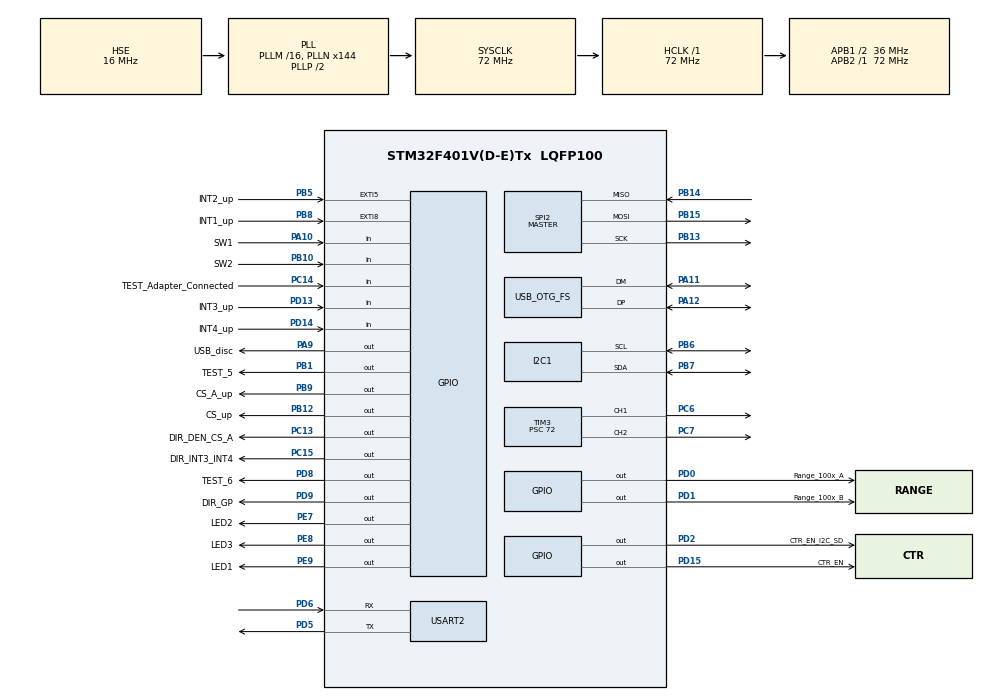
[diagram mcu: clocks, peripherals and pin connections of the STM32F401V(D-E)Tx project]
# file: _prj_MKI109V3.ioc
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I2C1.I2C_Mode=I2C_Fast
Mcu.Family=STM32F4
Mcu.Name=STM32F401V(D-E)Tx
Mcu.Package=LQFP100
NVIC.EXTI9_5_IRQn=true\:0\:0\:false\:false\:true\:true\:true\:true
NVIC.I2C1_EV_IRQn=true\:0\:0\:false\:false\:true\:true\:true\:true
NVIC.OTG_FS_IRQn=true\:0\:0\:false\:false\:true\:false\:true\:true
NVIC.PriorityGroup=NVIC_PRIORITYGROUP_4
PA10.GPIO_Label=SW1
PA10.Signal=GPIO_Input
PA11.Mode=Device_Only
PA11.Signal=USB_OTG_FS_DM
PA12.Mode=Device_Only
PA12.Signal=USB_OTG_FS_DP
PA9.GPIO_Label=USB_disc
PA9.PinState=GPIO_PIN_RESET
PA9.Signal=GPIO_Output
PB1.GPIO_Label=TEST_5
PB1.Signal=GPIO_Output
PB10.GPIO_Label=SW2
PB10.Signal=GPIO_Input
PB12.GPIO_Label=CS_up
PB12.GPIO_Speed=GPIO_SPEED_FREQ_VERY_HIGH
PB12.PinState=GPIO_PIN_SET
PB12.Signal=GPIO_Output
PB13.Mode=Full_Duplex_Master
PB13.Signal=SPI2_SCK
PB14.Mode=Full_Duplex_Master
PB14.Signal=SPI2_MISO
PB15.Mode=Full_Duplex_Master
PB15.Signal=SPI2_MOSI
PB5.GPIO_Label=INT2_up
PB5.Signal=GPXTI5
PB6.GPIO_Pu=GPIO_PULLUP
PB6.Mode=I2C
PB6.Signal=I2C1_SCL
PB7.GPIO_Pu=GPIO_PULLUP
PB7.Mode=I2C
PB7.Signal=I2C1_SDA
PB8.GPIO_Label=INT1_up
PB8.Signal=GPXTI8
PB9.GPIO_Label=CS_A_up
PB9.GPIO_PuPd=GPIO_NOPULL
PB9.GPIO_Speed=GPIO_SPEED_FREQ_VERY_HIGH
PB9.PinState=GPIO_PIN_SET
PB9.Signal=GPIO_Output
PC13-ANTI_TAMP.GPIO_Label=DIR_DEN_CS_A
PC13-ANTI_TAMP.PinState=GPIO_PIN_SET
PC13-ANTI_TAMP.Signal=GPIO_Output
PC14-OSC32_IN.GPIO_Label=TEST_Adapter_Connected
PC14-OSC32_IN.Signal=GPIO_Input
PC15-OSC32_OUT.GPIO_Label=DIR_INT3_INT4
PC15-OSC32_OUT.Signal=GPIO_Output
PC6.Signal=S_TIM3_CH1
PC7.Signal=S_TIM3_CH2
PD0.GPIO_Label=Range_100x_A
PD0.Signal=GPIO_Output
PD1.GPIO_Label=Range_100x_B
PD1.Signal=GPIO_Output
PD13.GPIO_Label=INT3_up
PD13.Signal=GPIO_Input
PD14.GPIO_Label=INT4_up
PD14.Signal=GPIO_Input
PD15.GPIO_Label=CTR_EN
PD15.Signal=GPIO_Output
PD2.GPIO_Label=CTR_EN_I2C_SD
PD2.PinState=GPIO_PIN_SET
PD2.Signal=GPIO_Output
PD5.Mode=Asynchronous
PD5.Signal=USART2_TX
PD6.Mode=Asynchronous
PD6.Signal=USART2_RX
PD8.GPIO_Label=TEST_6
PD8.Signal=GPIO_Output
PD9.GPIO_Label=DIR_GP
PD9.Signal=GPIO_Output
PE7.GPIO_Label=LED2
PE7.Signal=GPIO_Output
PE8.GPIO_Label=LED3
PE8.Signal=GPIO_Output
PE9.GPIO_Label=LED1
PE9.Signal=GPIO_Output
PH0\ -\ OSC_IN.Mode=HSE-External-Oscillator
PH0\ -\ OSC_IN.Signal=RCC_OSC_IN
PH1\ -\ OSC_OUT.Mode=HSE-External-Oscillator
PH1\ -\ OSC_OUT.Signal=RCC_OSC_OUT
ProjectManager.HeapSize=0x1000
ProjectManager.StackSize=0x1000
ProjectManager.TargetToolchain=STM32CubeIDE
RCC.48MHZClocksFreq_Value=48000000
RCC.AHBFreq_Value=72000000
RCC.APB1CLKDivider=RCC_HCLK_DIV2
RCC.APB1Freq_Value=36000000
RCC.APB1TimFreq_Value=72000000
RCC.APB2Freq_Value=72000000
RCC.APB2TimFreq_Value=72000000
RCC.CortexFreq_Value=72000000
RCC.HCLKFreq_Value=72000000
RCC.HSE_VALUE=16000000
RCC.HSI_VALUE=16000000
RCC.LSE_VALUE=32768
RCC.PLLN=144
RCC.PLLQ=3
RCC.SYSCLKFreq_VALUE=72000000
RCC.SYSCLKSource=RCC_SYSCLKSOURCE_PLLCLK
RCC.VCOOutputFreq_Value=144000000
SH.S_TIM3_CH1.0=TIM3_CH1,PWM Generation1 CH1
SH.S_TIM3_CH2.0=TIM3_CH2,PWM Generation2 CH2
SPI2.BaudRatePrescaler=SPI_BAUDRATEPRESCALER_4
SPI2.CLKPhase=SPI_PHASE_2EDGE
SPI2.CLKPolarity=SPI_POLARITY_HIGH
SPI2.Direction=SPI_DIRECTION_2LINES
SPI2.Mode=SPI_MODE_MASTER
SPI2.VirtualType=VM_MASTER
TIM3.Channel-PWM\ Generation1\ CH1=TIM_CHANNEL_1
TIM3.Channel-PWM\ Generation2\ CH2=TIM_CHANNEL_2
TIM3.Period=1000
TIM3.Prescaler=72
TIM3.Pulse-PWM\ Generation1\ CH1=700
TIM3.Pulse-PWM\ Generation2\ CH2=700
USART2.VirtualMode=VM_ASYNC
USB_DEVICE.CLASS_NAME_FS=CDC
USB_DEVICE.VirtualMode-CDC_FS=Cdc
USB_DEVICE.VirtualModeFS=Cdc_FS
USB_OTG_FS.VirtualMode=Device_Only
VP_TIM3_VS_ClockSourceINT.Mode=Internal
VP_USB_DEVICE_VS_USB_DEVICE_CDC_FS.Mode=CDC_FS
board=MKI109V3

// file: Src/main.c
/* USER CODE BEGIN Header */
/**
  ******************************************************************************
  * @file           : main.c
  * @brief          : Main program body
  ******************************************************************************
  * @attention
  *
  * <h2><center>&copy; Copyright (c) 2021 STMicroelectronics.
  * All rights reserved.</center></h2>
  *
  * This software component is licensed by ST under Ultimate Liberty license
  * SLA0044, the "License"; You may not use this file except in compliance with
  * the License. You may obtain a copy of the License at:
  *                             www.st.com/SLA0044
  *
  ******************************************************************************
  */
/* USER CODE END Header */
#include "main.h"
#include "i2c.h"
#include "spi.h"
#include "tim.h"
#include "usart.h"
#include "usb_device.h"
#include "gpio.h"

void SystemClock_Config(void);
/* USER CODE BEGIN PFP */
void iis3dhhc_read_data_polling(void);
void iis3dwb_read_data_polling(void);
void iis3dwb_fifo(void);
void iis3dwb10is_read_data(void);
void iis3dwb10is_read_data_16b(void);
void iis3dwb10is_fifo_read(void);
void iis3dwb10is_fifo_read_low_power(void);

/* USER CODE END PFP */

/* USER CODE BEGIN 0 */
void asm6g300b_read(void);
void asm9g300b_read(void);
void asm330ab1_read_safespi(void);
void asm330ab1_read_safespi_handler(void);

void HAL_GPIO_EXTI_Callback(uint16_t GPIO_Pin)
{
  asm330ab1_read_safespi_handler();
}

/* USER CODE END 0 */

int main(void)
{

  /* MCU Configuration--------------------------------------------------------*/

  /* Reset of all peripherals, Initializes the Flash interface and the Systick. */
  HAL_Init();

  /* Configure the system clock */
  SystemClock_Config();

  /* Initialize all configured peripherals */
  MX_GPIO_Init();
  MX_I2C1_Init();
  MX_SPI2_Init();
  MX_USB_DEVICE_Init();
  MX_USART2_UART_Init();
  MX_TIM3_Init();
  /* USER CODE BEGIN 2 */
  HAL_GPIO_WritePin(Range_100x_A_GPIO_Port, Range_100x_A_Pin, GPIO_PIN_SET);
  HAL_GPIO_WritePin(Range_100x_B_GPIO_Port, Range_100x_B_Pin, GPIO_PIN_SET);
  /* USER CODE END 2 */

  /* Infinite loop */
  /* USER CODE BEGIN WHILE */
  while (1)
  {
    //asm6g300b_read();
    //asm9g300b_read();
    asm330ab1_read_safespi();
    /* USER CODE END WHILE */

  }
}

void SystemClock_Config(void)
{
  RCC_OscInitTypeDef RCC_OscInitStruct = {0};
  RCC_ClkInitTypeDef RCC_ClkInitStruct = {0};

  /** Configure the main internal regulator output voltage
  */
  __HAL_RCC_PWR_CLK_ENABLE();
  __HAL_PWR_VOLTAGESCALING_CONFIG(PWR_REGULATOR_VOLTAGE_SCALE2);
  /** Initializes the RCC Oscillators according to the specified parameters
  * in the RCC_OscInitTypeDef structure.
  */
  RCC_OscInitStruct.OscillatorType = RCC_OSCILLATORTYPE_HSE;
  RCC_OscInitStruct.HSEState = RCC_HSE_ON;
  RCC_OscInitStruct.PLL.PLLState = RCC_PLL_ON;
  RCC_OscInitStruct.PLL.PLLSource = RCC_PLLSOURCE_HSE;
  RCC_OscInitStruct.PLL.PLLM = 16;
  RCC_OscInitStruct.PLL.PLLN = 144;
  RCC_OscInitStruct.PLL.PLLP = RCC_PLLP_DIV2;
  RCC_OscInitStruct.PLL.PLLQ = 3;
  if (HAL_RCC_OscConfig(&RCC_OscInitStruct) != HAL_OK)
  {
    Error_Handler();
  }
  /** Initializes the CPU, AHB and APB buses clocks
  */
  RCC_ClkInitStruct.ClockType = RCC_CLOCKTYPE_HCLK|RCC_CLOCKTYPE_SYSCLK
                              |RCC_CLOCKTYPE_PCLK1|RCC_CLOCKTYPE_PCLK2;
  RCC_ClkInitStruct.SYSCLKSource = RCC_SYSCLKSOURCE_PLLCLK;
  RCC_ClkInitStruct.AHBCLKDivider = RCC_SYSCLK_DIV1;
  RCC_ClkInitStruct.APB1CLKDivider = RCC_HCLK_DIV2;
  RCC_ClkInitStruct.APB2CLKDivider = RCC_HCLK_DIV1;

  if (HAL_RCC_ClockConfig(&RCC_ClkInitStruct, FLASH_LATENCY_2) != HAL_OK)
  {
    Error_Handler();
  }
}

void Error_Handler(void)
{
  __disable_irq();
  while (1)
  {
  }
}

/************************ (C) COPYRIGHT STMicroelectronics *****END OF FILE****/
